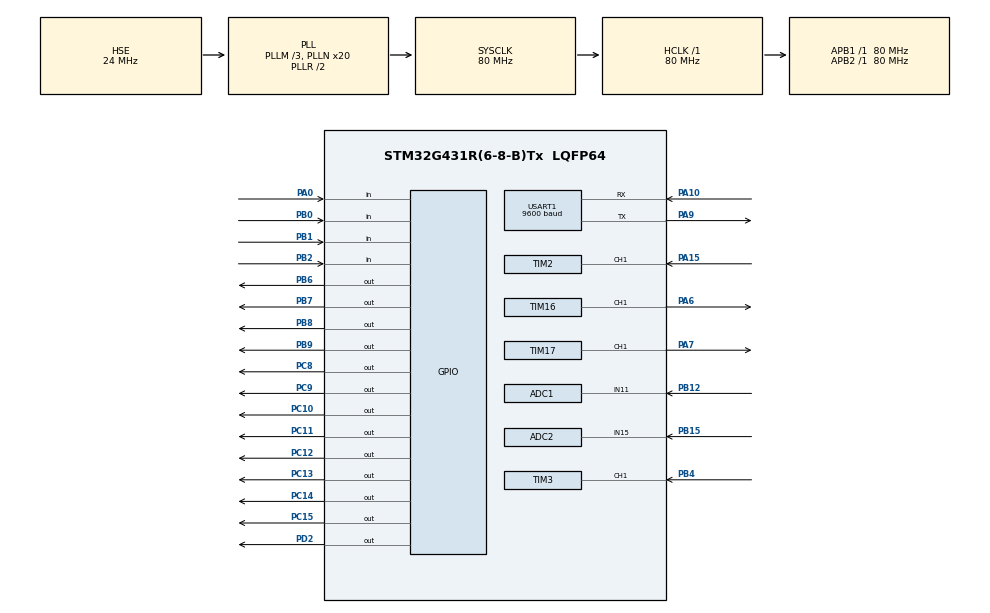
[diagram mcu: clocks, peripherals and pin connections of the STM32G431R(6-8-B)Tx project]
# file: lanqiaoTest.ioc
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ADC1.Channel-0\#ChannelRegularConversion=ADC_CHANNEL_11
ADC1.NbrOfConversionFlag=1
ADC1.OffsetNumber-0\#ChannelRegularConversion=ADC_OFFSET_NONE
ADC1.Rank-0\#ChannelRegularConversion=1
ADC1.SamplingTime-0\#ChannelRegularConversion=ADC_SAMPLETIME_2CYCLES_5
ADC1.master=1
ADC2.Channel-0\#ChannelRegularConversion=ADC_CHANNEL_15
ADC2.NbrOfConversionFlag=1
ADC2.OffsetNumber-0\#ChannelRegularConversion=ADC_OFFSET_NONE
ADC2.Rank-0\#ChannelRegularConversion=1
ADC2.SamplingTime-0\#ChannelRegularConversion=ADC_SAMPLETIME_2CYCLES_5
Mcu.Family=STM32G4
Mcu.Name=STM32G431R(6-8-B)Tx
Mcu.Package=LQFP64
NVIC.PriorityGroup=NVIC_PRIORITYGROUP_4
NVIC.TIM2_IRQn=true\:0\:0\:false\:false\:true\:true\:true\:true
NVIC.TIM3_IRQn=true\:0\:0\:false\:false\:true\:true\:true\:true
NVIC.TIM4_IRQn=true\:0\:0\:false\:false\:true\:true\:true\:true
NVIC.USART1_IRQn=true\:0\:0\:false\:false\:true\:true\:true\:true
PA0.GPIO_PuPd=GPIO_PULLUP
PA0.Signal=GPIO_Input
PA10.Mode=Asynchronous
PA10.Signal=USART1_RX
PA13.Mode=Serial_Wire
PA13.Signal=SYS_JTMS-SWDIO
PA14.Mode=Serial_Wire
PA14.Signal=SYS_JTCK-SWCLK
PA15.Signal=S_TIM2_CH1
PA6.Signal=S_TIM16_CH1
PA7.Signal=S_TIM17_CH1
PA9.Mode=Asynchronous
PA9.Signal=USART1_TX
PB0.GPIO_PuPd=GPIO_PULLUP
PB0.Signal=GPIO_Input
PB1.GPIO_PuPd=GPIO_PULLUP
PB1.Signal=GPIO_Input
PB12.Mode=IN11-Single-Ended
PB12.Signal=ADC1_IN11
PB15.Mode=IN15-Single-Ended
PB15.Signal=ADC2_IN15
PB2.GPIO_PuPd=GPIO_PULLUP
PB2.Signal=GPIO_Input
PB4.Signal=S_TIM3_CH1
PB6.Signal=GPIO_Output
PB7.Signal=GPIO_Output
PB8-BOOT0.Signal=GPIO_Output
PB9.Signal=GPIO_Output
PC10.GPIO_PuPd=GPIO_NOPULL
PC10.PinState=GPIO_PIN_SET
PC10.Signal=GPIO_Output
PC11.GPIO_PuPd=GPIO_NOPULL
PC11.PinState=GPIO_PIN_SET
PC11.Signal=GPIO_Output
PC12.GPIO_PuPd=GPIO_NOPULL
PC12.PinState=GPIO_PIN_SET
PC12.Signal=GPIO_Output
PC13.PinState=GPIO_PIN_SET
PC13.Signal=GPIO_Output
PC14-OSC32_IN.GPIO_PuPd=GPIO_NOPULL
PC14-OSC32_IN.PinState=GPIO_PIN_SET
PC14-OSC32_IN.Signal=GPIO_Output
PC15-OSC32_OUT.GPIO_PuPd=GPIO_NOPULL
PC15-OSC32_OUT.PinState=GPIO_PIN_SET
PC15-OSC32_OUT.Signal=GPIO_Output
PC8.GPIO_PuPd=GPIO_NOPULL
PC8.PinState=GPIO_PIN_SET
PC8.Signal=GPIO_Output
PC9.GPIO_PuPd=GPIO_NOPULL
PC9.PinState=GPIO_PIN_SET
PC9.Signal=GPIO_Output
PD2.Signal=GPIO_Output
PF0-OSC_IN.Mode=HSE-External-Oscillator
PF0-OSC_IN.Signal=RCC_OSC_IN
PF1-OSC_OUT.Mode=HSE-External-Oscillator
PF1-OSC_OUT.Signal=RCC_OSC_OUT
ProjectManager.HeapSize=0x200
ProjectManager.StackSize=0x400
ProjectManager.TargetToolchain=MDK-ARM V5.32
RCC.ADC12Freq_Value=80000000
RCC.AHBFreq_Value=80000000
RCC.APB1Freq_Value=80000000
RCC.APB1TimFreq_Value=80000000
RCC.APB2Freq_Value=80000000
RCC.APB2TimFreq_Value=80000000
RCC.CortexFreq_Value=80000000
RCC.EXTERNAL_CLOCK_VALUE=12288000
RCC.HCLKFreq_Value=80000000
RCC.HSE_VALUE=24000000
RCC.HSI48_VALUE=48000000
RCC.HSI_VALUE=16000000
RCC.LSE_VALUE=32768
RCC.PLLM=RCC_PLLM_DIV3
RCC.PLLN=20
RCC.PLLSourceVirtual=RCC_PLLSOURCE_HSE
RCC.SYSCLKFreq_VALUE=80000000
RCC.SYSCLKSource=RCC_SYSCLKSOURCE_PLLCLK
RCC.USBFreq_Value=80000000
RCC.VCOOutputFreq_Value=160000000
SH.S_TIM16_CH1.0=TIM16_CH1,PWM Generation1 CH1
SH.S_TIM17_CH1.0=TIM17_CH1,PWM Generation1 CH1
SH.S_TIM2_CH1.0=TIM2_CH1,Input_Capture1_from_TI1
SH.S_TIM3_CH1.0=TIM3_CH1,Input_Capture1_from_TI1
TIM16.Channel=TIM_CHANNEL_1
TIM16.PeriodNoDither=100-1
TIM16.Prescaler=8000-1
TIM16.PulseNoDither_1=20
TIM17.Channel=TIM_CHANNEL_1
TIM17.PeriodNoDither=100-1
TIM17.Prescaler=4000-1
TIM17.PulseNoDither_1=20
TIM2.Channel-Input_Capture1_from_TI1=TIM_CHANNEL_1
TIM2.Prescaler=80-1 
TIM3.Channel-Input_Capture1_from_TI1=TIM_CHANNEL_1
TIM3.PeriodNoDither=10000-1
TIM3.Prescaler=80-1
TIM4.PeriodNoDither=10000-1
TIM4.Prescaler=80-1
USART1.BaudRate=9600
USART1.VirtualMode-Asynchronous=VM_ASYNC
VP_SYS_VS_DBSignals.Mode=DisableDeadBatterySignals
VP_TIM16_VS_ClockSourceINT.Mode=Enable_Timer
VP_TIM17_VS_ClockSourceINT.Mode=Enable_Timer
VP_TIM3_VS_ClockSourceINT.Mode=Internal
VP_TIM4_VS_ClockSourceINT.Mode=Internal
board=custom

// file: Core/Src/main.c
/* USER CODE BEGIN Header */
/**
  ******************************************************************************
  * @file           : main.c
  * @brief          : Main program body
  ******************************************************************************
  * @attention
  *
  * Copyright (c) 2024 STMicroelectronics.
  * All rights reserved.
  *
  * This software is licensed under terms that can be found in the LICENSE file
  * in the root directory of this software component.
  * If no LICENSE file comes with this software, it is provided AS-IS.
  *
  ******************************************************************************
  */
/* USER CODE END Header */
#include "main.h"
#include "adc.h"
#include "tim.h"
#include "usart.h"
#include "gpio.h"

/* USER CODE BEGIN Includes */
#include "stdio.h"
#include "string.h"
#include "led.h"
#include "lcd.h"
#include "interrupt.h"
#include "my_adc.h"
#include "i2c_hal.h"
/* USER CODE END Includes */

/* USER CODE BEGIN PTD */
extern struct status key[4];
uint8_t view = 0; // 默认是在第一个界面
uint8_t pa6_duty = 10; // 引脚PA6的PWM波占空比（上电时默认为10%）
uint8_t pa7_duty = 10; // 引脚PA7的PWM波占空比（上电时默认为10%）
extern uint16_t frq_1,frq_2;
extern char rxdata[30]; // 用来储存已经处理好的数据
extern uint8_t rxdat; // 每次接收时用来存储字符的变量
extern uint8_t rx_pointer; // “指针”，确定我们写到哪个位置（因为是一位一位接收的）
void uart_rx_proc(void); // 串口接收处理函数
char temp[20]; // 用来串口发送的数组

char car_type[5];
char car_data[5];
char car_time[13];
/* USER CODE END PTD */

void SystemClock_Config(void);

int main(void)
{

  /* MCU Configuration--------------------------------------------------------*/

  /* Reset of all peripherals, Initializes the Flash interface and the Systick. */
  HAL_Init();

  /* Configure the system clock */
  SystemClock_Config();

  /* Initialize all configured peripherals */
  MX_GPIO_Init();
  MX_TIM3_Init();
  MX_TIM16_Init();
  MX_TIM17_Init();
  MX_TIM2_Init();
  MX_TIM4_Init();
  MX_ADC1_Init();
  MX_ADC2_Init();
  MX_USART1_UART_Init();
  /* USER CODE BEGIN 2 */
  //uint8_t i = 0x01;
  //LED_Display(i);
  LED_Init();
  LCD_Init();
  /* USER CODE END 2 */

  /* Infinite loop */
  /* USER CODE BEGIN WHILE */
/*	LCD_Clear(Blue);
    LCD_SetBackColor(Blue);
    LCD_SetTextColor(White);

    LCD_DrawLine(120, 0, 320, Horizontal);
    LCD_DrawLine(0, 160, 240, Vertical);
    HAL_Delay(1000);
    LCD_Clear(Blue);

    LCD_DrawRect(70, 210, 100, 100);
    HAL_Delay(1000);
    LCD_Clear(Blue);

    LCD_DrawCircle(120, 160, 80);
    HAL_Delay(1000);

    LCD_Clear(Blue);
    LCD_DisplayStringLine(Line4, (unsigned char *)"    Hello,world.   ");
    HAL_Delay(1000);

    LCD_SetBackColor(White);
    LCD_DisplayStringLine(Line0, (unsigned char *)"                    ");
    LCD_SetBackColor(Black);
    LCD_DisplayStringLine(Line1, (unsigned char *)"                    ");
    LCD_SetBackColor(Grey);
    LCD_DisplayStringLine(Line2, (unsigned char *)"                    ");
    LCD_SetBackColor(Blue);
    LCD_DisplayStringLine(Line3, (unsigned char *)"                    ");
    LCD_SetBackColor(Blue2);
    LCD_DisplayStringLine(Line4, (unsigned char *)"                    ");
    LCD_SetBackColor(Red);
    LCD_DisplayStringLine(Line5, (unsigned char *)"                    ");
    LCD_SetBackColor(Magenta);
    LCD_DisplayStringLine(Line6, (unsigned char *)"                    ");
    LCD_SetBackColor(Green);
    LCD_DisplayStringLine(Line7, (unsigned char *)"                    ");
    LCD_SetBackColor(Cyan);
    LCD_DisplayStringLine(Line8, (unsigned char *)"                    ");
    LCD_SetBackColor(Yellow);
    LCD_DisplayStringLine(Line9, (unsigned char *)"                    ");
	HAL_Delay(1000);*/
	LCD_Clear(Black);
//	char text[10];
	LCD_SetBackColor(Black);
    LCD_SetTextColor(White);

	HAL_TIM_Base_Start_IT(&htim4); // 开启中断（用来检测按键）

	HAL_TIM_PWM_Start(&htim16,TIM_CHANNEL_1); // 打开PWM输出（TIM16，通道1）
	HAL_TIM_PWM_Start(&htim17,TIM_CHANNEL_1); // 打开PWM输出（TIM17，通道1）

	HAL_TIM_IC_Start_IT(&htim2,TIM_CHANNEL_1); // 频率测量捕获定时器开启
	HAL_TIM_IC_Start_IT(&htim3,TIM_CHANNEL_1); // 频率测量捕获定时器开启

	HAL_UART_Receive_IT(&huart1,&rxdat,1); // 串口接收中断打开

	char text[10]; // 声明数组用来储存要显示在LCD屏幕上的文字
	sprintf(text,"       111 first"); // 上电默认显示第一个界面
    LCD_DisplayStringLine(Line1, (unsigned char *)text);

  while (1)
  {
	// if(key[0].key_short_flag == 1) // key0被短按
	// {
	// sprintf(text,"        key0");
	// LCD_DisplayStringLine(Line4, (unsigned char *)text);

	// key[0].key_short_flag = 0; // 将按键标志位清零，表明“已经执行过按下按键时想实现的功能了”
	// }

	// if(key[1].key_short_flag == 1) // key1被短按
	// {
	// sprintf(text,"        key1");
	// LCD_DisplayStringLine(Line4, (unsigned char *)text);

	// key[1].key_short_flag = 0; // 将按键标志位清零，表明“已经执行过按下按键时想实现的功能了”
	// }

	// if(key[3].key_long_flag == 1) // key3被长按
	// {
	// LED_Init();
	// LCD_Clear(Black);
	// key[3].key_long_flag = 0; // 将按键标志位清零，表明“已经执行过按下按键时想实现的功能了”
	// }
    /* USER CODE END WHILE */

    /* USER CODE BEGIN 3 */
	if(key[0].key_short_flag == 1) // key0被短按时切换界面
	{
      LCD_Clear(Black); // 为避免上一个界面的文字残留，需要先清屏
      view = !view; // key0被按下时对view取反
      key[0].key_short_flag = 0; // 将按键标志位清零，表明“已经执行过按下按键时想实现的功能了”

	}
	if(key[1].key_short_flag == 1) // key1被短按
    {
         pa6_duty += 10;
           if(pa6_duty == 100)
             pa6_duty = 10;
         __HAL_TIM_SetCompare(&htim16,TIM_CHANNEL_1,pa6_duty); // HAL库函数，设置占空比
         key[1].key_short_flag = 0;
    }

    if(key[2].key_short_flag == 1) // key2被短按
    {
         pa7_duty += 10;
           if(pa7_duty == 100)
             pa7_duty = 10;
         __HAL_TIM_SetCompare(&htim17,TIM_CHANNEL_1,pa7_duty); // HAL库函数，设置占空比
         key[2].key_short_flag = 0;
	}

	    if(view == 0) // 若要显示第一个界面
        {
			//LCD_Clear(Black);
          sprintf(text,"       111 first");
          LCD_DisplayStringLine(Line1, (unsigned char *)text);
			//LCD_Clear(Black);
		  sprintf(text,"       FRQ1=%d",frq_1);
          LCD_DisplayStringLine(Line2, (unsigned char *)text);
			//LCD_Clear(Black);
		  sprintf(text,"       FRQ2=%d",frq_2);
          LCD_DisplayStringLine(Line4, (unsigned char *)text);

//			sprintf(text,"       ADC1=%.2f",getADC(&hadc1));
//          LCD_DisplayStringLine(Line6, (unsigned char *)text);
//			sprintf(text,"       ADC2=%.2f",getADC(&hadc2));
//          LCD_DisplayStringLine(Line8, (unsigned char *)text);

			uint16_t eep_temp = (eeprom_read(1)<<8) + eeprom_read(2); // 读取eeprom的数据，高八位左移8位+低八位
			sprintf(text,"  eeprom__frq=%d",eep_temp);
          LCD_DisplayStringLine(Line6, (unsigned char *)text);

        }

        if(view == 1) // 若要显示第二个界面
        {
			sprintf(text,"    PA6:%d",pa6_duty);
          LCD_DisplayStringLine(Line2, (unsigned char *)text);
			sprintf(text,"    PA7:%d",pa7_duty);
          LCD_DisplayStringLine(Line4, (unsigned char *)text);
        }
		 if(key[3].key_short_flag == 1) // key3被短按
		{
         uint8_t frq_high = frq_1>>8; // 频率是无符号16位，而eeprom芯片一个位只能存一个八位的数，所以要拆成高八位和低八位
		 uint8_t frq_low = frq_1&0xff; // 与0000 0000 1111 1111相与，取出低八位

			eeprom_write(1,frq_high);// 将两个数分别存入eeprom的两个区域里
			HAL_Delay(10); // 写入是需要时间的。如果不加延迟，很可能会写不进去
			eeprom_write(2,frq_low);

         key[3].key_short_flag = 0;
		}

		sprintf(temp,"frq = %d\r\n",frq_1);
		HAL_UART_Transmit(&huart1,(uint8_t *)temp,strlen(temp),50); // 串口发送数据

		if(rx_pointer!=0) // 串口接收数据（防止接收不完整问题）
		{
			int temp = rx_pointer;
			HAL_Delay(1);
			if(temp == rx_pointer)
				uart_rx_proc(); // 串口接收处理函数
		}

	}

  /* USER CODE END 3 */
}

void SystemClock_Config(void)
{
  RCC_OscInitTypeDef RCC_OscInitStruct = {0};
  RCC_ClkInitTypeDef RCC_ClkInitStruct = {0};

  /** Configure the main internal regulator output voltage
  */
  HAL_PWREx_ControlVoltageScaling(PWR_REGULATOR_VOLTAGE_SCALE1);

  /** Initializes the RCC Oscillators according to the specified parameters
  * in the RCC_OscInitTypeDef structure.
  */
  RCC_OscInitStruct.OscillatorType = RCC_OSCILLATORTYPE_HSE;
  RCC_OscInitStruct.HSEState = RCC_HSE_ON;
  RCC_OscInitStruct.PLL.PLLState = RCC_PLL_ON;
  RCC_OscInitStruct.PLL.PLLSource = RCC_PLLSOURCE_HSE;
  RCC_OscInitStruct.PLL.PLLM = RCC_PLLM_DIV3;
  RCC_OscInitStruct.PLL.PLLN = 20;
  RCC_OscInitStruct.PLL.PLLP = RCC_PLLP_DIV2;
  RCC_OscInitStruct.PLL.PLLQ = RCC_PLLQ_DIV2;
  RCC_OscInitStruct.PLL.PLLR = RCC_PLLR_DIV2;
  if (HAL_RCC_OscConfig(&RCC_OscInitStruct) != HAL_OK)
  {
    Error_Handler();
  }

  /** Initializes the CPU, AHB and APB buses clocks
  */
  RCC_ClkInitStruct.ClockType = RCC_CLOCKTYPE_HCLK|RCC_CLOCKTYPE_SYSCLK
                              |RCC_CLOCKTYPE_PCLK1|RCC_CLOCKTYPE_PCLK2;
  RCC_ClkInitStruct.SYSCLKSource = RCC_SYSCLKSOURCE_PLLCLK;
  RCC_ClkInitStruct.AHBCLKDivider = RCC_SYSCLK_DIV1;
  RCC_ClkInitStruct.APB1CLKDivider = RCC_HCLK_DIV1;
  RCC_ClkInitStruct.APB2CLKDivider = RCC_HCLK_DIV1;

  if (HAL_RCC_ClockConfig(&RCC_ClkInitStruct, FLASH_LATENCY_2) != HAL_OK)
  {
    Error_Handler();
  }
}

/* USER CODE BEGIN 4 */
		void uart_rx_proc() // 串口接收处理函数
	{
		 if(rx_pointer>0) // “指针”不在0的位置，说明接收到了
		 {
			 if(rx_pointer == 22) // 第十二届真题中发送的数据都是22位，由此即可判断是否接收成功
			 {
				 sscanf(rxdata,"%4s:%4s:%12s",car_type,car_data,car_time); // 把接收到的字符串拆开
			 }
			 else // 不是22位，说明接收错误
			 {
				 sprintf(temp,"error");
		HAL_UART_Transmit(&huart1,(uint8_t *)temp,strlen(temp),50); // 串口发送数据
			 }
			 rx_pointer = 0; // 接收完了，指针归位，准备接收下一次数据
			 memset(rxdata,0,30);
		 }
	}
/* USER CODE END 4 */

void Error_Handler(void)
{
  __disable_irq();
  while (1)
  {
  }
}
